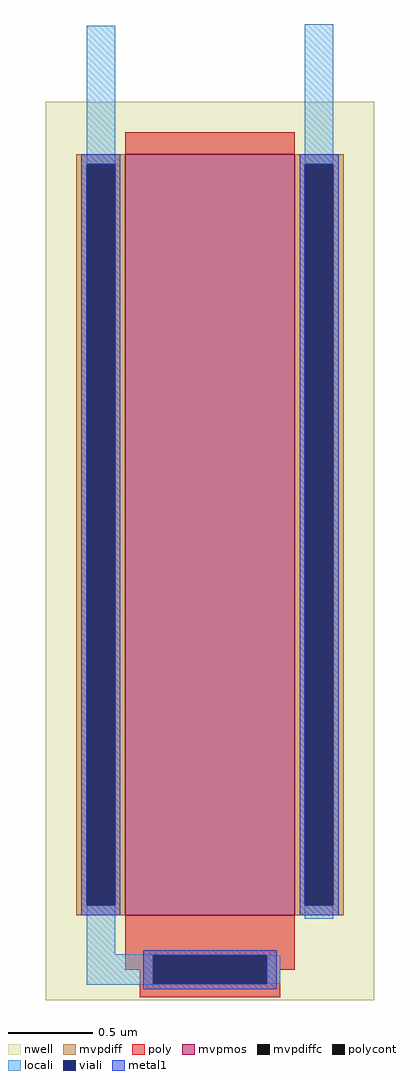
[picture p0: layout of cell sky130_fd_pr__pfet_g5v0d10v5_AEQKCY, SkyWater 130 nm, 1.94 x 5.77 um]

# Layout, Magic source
magic
tech sky130A
magscale 1 2
<< nwell >>
rect -194 -514 194 548
<< mvpmos >>
rect -100 -414 100 486
<< mvpdiff >>
rect -158 474 -100 486
rect -158 -402 -146 474
rect -112 -402 -100 474
rect -158 -414 -100 -402
rect 100 474 158 486
rect 100 -402 112 474
rect 146 -402 158 474
rect 100 -414 158 -402
<< mvpdiffc >>
rect -146 -402 -112 474
rect 112 -402 146 474
<< poly >>
rect -100 486 100 512
rect -100 -461 100 -414
rect -100 -478 -67 -461
rect -83 -495 -67 -478
rect 67 -478 100 -461
rect 67 -495 83 -478
rect -83 -511 83 -495
<< polycont >>
rect -67 -495 67 -461
<< locali >>
rect -146 474 -112 638
rect -146 -460 -112 -402
rect 112 474 146 640
rect 112 -418 146 -402
rect -146 -461 -60 -460
rect -146 -495 -67 -461
rect 67 -495 83 -461
rect -146 -496 -60 -495
<< viali >>
rect -146 -402 -112 474
rect 112 -402 146 474
rect -67 -495 67 -461
<< metal1 >>
rect -152 474 -106 486
rect -152 -402 -146 474
rect -112 -402 -106 474
rect -152 -414 -106 -402
rect 106 474 152 486
rect 106 -402 112 474
rect 146 -402 152 474
rect 106 -414 152 -402
rect -79 -461 79 -455
rect -79 -495 -67 -461
rect 67 -495 79 -461
rect -79 -501 79 -495
<< properties >>
string gencell sky130_fd_pr__pfet_g5v0d10v5
string library sky130
string parameters w 4.5 l 1 m 1 nf 1 diffcov 100 polycov 80 guard 0 glc 0 grc 0 gtc 1 gbc 1 tbcov 100 rlcov 100 topc 0 botc 1 poverlap 0 doverlap 1 lmin 0.50 wmin 0.42 class mosfet compatible {sky130_fd_pr__pfet_01v8  sky130_fd_pr__pfet_01v8_lvt sky130_fd_pr__pfet_01v8_hvt  sky130_fd_pr__pfet_g5v0d10v5} full_metal 1 viasrc 100 viadrn 100 viagate 80 viagb 0 viagr 0 viagl 0 viagt 0
<< end >>
